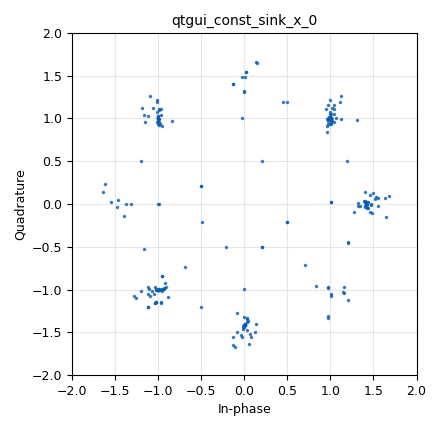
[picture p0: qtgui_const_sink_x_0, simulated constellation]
options:
  parameters:
    author: Anil Kumar,Hariom Meena
    generate_options: qt_gui
    id: AMC
    output_language: python
    title: AMC
  states: {}

blocks:
- name: noise_voltage
  id: variable_qtgui_range
  parameters:
    start: '0'
    step: '0.01'
    stop: '1'
    value: '0'
  states: {}
- name: samp_rate
  id: variable
  parameters:
    value: '32000'
  states: {}
- name: analog_random_source_x_0
  id: analog_random_source_x
  parameters:
    max: '2'
    min: '0'
    num_samps: '1000'
    repeat: 'True'
    type: byte
  states: {}
- name: blocks_complex_to_mag_squared_0
  id: blocks_complex_to_mag_squared
  parameters: {}
  states: {}
- name: blocks_message_debug_0
  id: blocks_message_debug
  parameters: {}
  states: {}
- name: blocks_null_sink_0
  id: blocks_null_sink
  parameters:
    type: complex
  states: {}
- name: blocks_null_source_0
  id: blocks_null_source
  parameters:
    type: complex
  states: {}
- name: blocks_selector_0_1
  id: blocks_selector
  parameters:
    enabled: 'True'
    input_index: '0'
    num_inputs: '3'
    num_outputs: '1'
    output_index: '0'
    showports: 'False'
    type: complex
  states: {}
- name: blocks_throttle_0
  id: blocks_throttle
  parameters:
    samples_per_second: samp_rate
    type: byte
  states: {}
- name: channels_channel_model_0
  id: channels_channel_model
  parameters:
    epsilon: '1.0'
    freq_offset: '0.0'
    noise_voltage: noise_voltage
    seed: '0'
    taps: 1.0 + 1.0j
  states: {}
- name: digital_mpsk_snr_est_cc_0
  id: digital_mpsk_snr_est_cc
  parameters:
    alpha: '0.001'
    tag_nsamples: '10000'
    type: '0'
  states: {}
- name: digital_probe_mpsk_snr_est_c_0
  id: digital_probe_mpsk_snr_est_c
  parameters:
    alpha: '0.001'
    msg_nsamples: '10000'
    type: '0'
  states: {}
- name: digital_psk_mod_0
  id: digital_psk_mod
  parameters:
    constellation_points: '8'
    differential: 'True'
    excess_bw: '0.35'
    mod_code: '"gray"'
    samples_per_symbol: '2'
  states: {}
- name: digital_psk_mod_0_0
  id: digital_psk_mod
  parameters:
    constellation_points: '2'
    differential: 'True'
    excess_bw: '0.35'
    mod_code: '"gray"'
    samples_per_symbol: '2'
  states: {}
- name: digital_psk_mod_0_0_0
  id: digital_psk_mod
  parameters:
    constellation_points: '4'
    differential: 'True'
    excess_bw: '0.35'
    mod_code: '"gray"'
    samples_per_symbol: '2'
  states: {}
- name: epy_block_0_0
  id: epy_block
  parameters:
    _source_code: "import numpy as np\nfrom gnuradio import gr\nimport pmt\n\nclass SelectionCombiningBlock(gr.sync_block):\n\n    def __init__(self):\n        gr.sync_block.__init__(\n            self,\n            name='Decider',\n            in_sig=[np.complex64],\n            out_sig=[np.complex64]\n        )\n        self.selectPortName = 'inputSNR'\n        self.message_port_register_in(pmt.intern(self.selectPortName))\n        self.set_msg_handler(pmt.intern(self.selectPortName), self.handle_msg_first)\n        self.portName = 'messageOutput'\n        self.message_port_register_out(pmt.intern(self.portName))\n\n        self.input_SNR_1 = 0\n        self.state = 1\n\n    def handle_msg_first(self, msg_1):\n        self.input_SNR_1 = pmt.to_double(msg_1)\n\n\n    def work(self, input_items, output_items):\n         if (self.input_SNR_1> 0 and self.input_SNR_1 <=5):\n            self.state = 0\n            PMT_long = pmt.from_long(self.state)\n            PMT_msg = pmt.cons(PMT_long, PMT_long) \n            self.message_port_pub(pmt.intern(self.portName), PMT_msg)\n            \n         elif (self.input_SNR_1 > 5 and self.input_SNR_1 <= 8):\n            self.state = 1\n            PMT_long = pmt.from_long(self.state)\n            PMT_msg = pmt.cons(PMT_long, PMT_long) \n            self.message_port_pub(pmt.intern(self.portName), PMT_msg)\n\n         elif (self.input_SNR_1 >8):\n            self.state = 2\n            PMT_long = pmt.from_long(self.state)\n            PMT_msg = pmt.cons(PMT_long, PMT_long) \n            self.message_port_pub(pmt.intern(self.portName), PMT_msg)\n\n         output_items[0][:] = input_items[0]\n         return len(output_items[0])\n\n"
  states: {}
- name: qtgui_const_sink_x_0
  id: qtgui_const_sink_x
  parameters:
    size: '256'
    type: complex
    update_time: '0.2'
  states: {}
- name: qtgui_number_sink_1
  id: qtgui_number_sink
  parameters:
    autoscale: 'True'
    graph_type: qtgui.NUM_GRAPH_HORIZ
    name: '"SNR"'
    type: float
  states: {}
- name: virtual_sink_2
  id: virtual_sink
  parameters:
    stream_id: Select_modulator
  states: {}
- name: virtual_source_0
  id: virtual_source
  parameters:
    stream_id: Select_modulator
  states: {}

connections:
- [analog_random_source_x_0, '0', blocks_throttle_0, '0']
- [blocks_complex_to_mag_squared_0, '0', qtgui_number_sink_1, '0']
- [blocks_null_source_0, '0', epy_block_0_0, '0']
- [blocks_selector_0_1, '0', virtual_sink_2, '0']
- [blocks_throttle_0, '0', digital_psk_mod_0, '0']
- [blocks_throttle_0, '0', digital_psk_mod_0_0, '0']
- [blocks_throttle_0, '0', digital_psk_mod_0_0_0, '0']
- [channels_channel_model_0, '0', digital_mpsk_snr_est_cc_0, '0']
- [channels_channel_model_0, '0', digital_probe_mpsk_snr_est_c_0, '0']
- [channels_channel_model_0, '0', qtgui_const_sink_x_0, '0']
- [digital_mpsk_snr_est_cc_0, '0', blocks_complex_to_mag_squared_0, '0']
- [digital_probe_mpsk_snr_est_c_0, snr, blocks_message_debug_0, print]
- [digital_probe_mpsk_snr_est_c_0, snr, epy_block_0_0, inputSNR]
- [digital_psk_mod_0, '0', blocks_selector_0_1, '2']
- [digital_psk_mod_0_0, '0', blocks_selector_0_1, '0']
- [digital_psk_mod_0_0_0, '0', blocks_selector_0_1, '1']
- [epy_block_0_0, '0', blocks_null_sink_0, '0']
- [epy_block_0_0, messageOutput, blocks_selector_0_1, iindex]
- [virtual_source_0, '0', channels_channel_model_0, '0']

metadata:
  file_format: 1
  grc_version: 3.10.7.0
